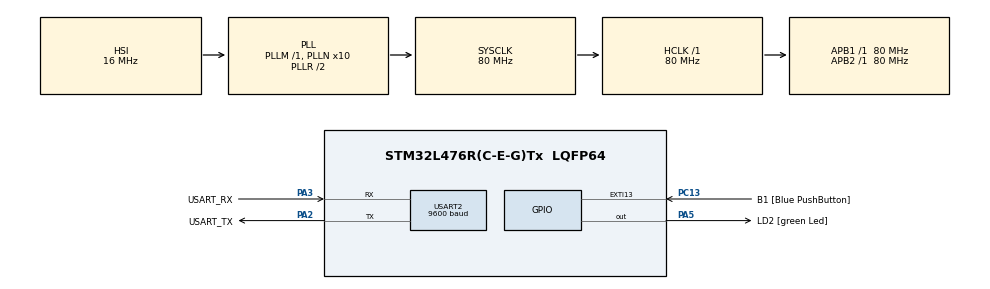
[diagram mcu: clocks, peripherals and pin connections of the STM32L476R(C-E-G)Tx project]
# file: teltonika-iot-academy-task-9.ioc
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FREERTOS.BinarySemaphores01=UARTTxSemaphore,Dynamic,NULL
FREERTOS.Events01=ButEvents,Dynamic,NULL
FREERTOS.Queues01=RxQueue,12,uint8_t,0,Dynamic,NULL,NULL;CommandQueue,1,13,1,Dynamic,NULL,NULL;b_rateQueue,1,uint16_t,0,Dynamic,NULL,NULL
FREERTOS.Tasks01=UARTRx,24,128,StartUARTRx,Default,NULL,Dynamic,NULL,NULL;TaskHandler,32,128,StartTTaskHandler,Default,NULL,Dynamic,NULL,NULL;ButTask,16,128,StartButTask,Default,NULL,Dynamic,NULL,NULL;LedBlinkTask,16,128,StartLedBlinkTask,Default,NULL,Dynamic,NULL,NULL
Mcu.Family=STM32L4
Mcu.Name=STM32L476R(C-E-G)Tx
Mcu.Package=LQFP64
NVIC.EXTI15_10_IRQn=true\:5\:0\:false\:true\:true\:2\:true\:true\:true
NVIC.PriorityGroup=NVIC_PRIORITYGROUP_4
NVIC.TIM6_DAC_IRQn=true\:15\:0\:false\:false\:true\:false\:false\:true
NVIC.TimeBase=TIM6_DAC_IRQn
NVIC.TimeBaseIP=TIM6
NVIC.USART2_IRQn=true\:5\:0\:false\:true\:true\:1\:true\:true\:true
PA13\ (JTMS-SWDIO).GPIO_Label=TMS
PA13\ (JTMS-SWDIO).Mode=Serial_Wire
PA13\ (JTMS-SWDIO).Signal=SYS_JTMS-SWDIO
PA14\ (JTCK-SWCLK).GPIO_Label=TCK
PA14\ (JTCK-SWCLK).Mode=Serial_Wire
PA14\ (JTCK-SWCLK).Signal=SYS_JTCK-SWCLK
PA2.GPIO_Label=USART_TX
PA2.GPIO_Mode=GPIO_MODE_AF_PP
PA2.GPIO_PuPd=GPIO_NOPULL
PA2.GPIO_Speed=GPIO_SPEED_FREQ_VERY_HIGH
PA2.Mode=Asynchronous
PA2.Signal=USART2_TX
PA3.GPIO_Label=USART_RX
PA3.GPIO_Mode=GPIO_MODE_AF_PP
PA3.GPIO_PuPd=GPIO_NOPULL
PA3.GPIO_Speed=GPIO_SPEED_FREQ_VERY_HIGH
PA3.Mode=Asynchronous
PA3.Signal=USART2_RX
PA5.GPIO_Label=LD2 [green Led]
PA5.GPIO_ModeDefaultOutputPP=GPIO_MODE_OUTPUT_PP
PA5.GPIO_PuPd=GPIO_NOPULL
PA5.GPIO_Speed=GPIO_SPEED_FREQ_LOW
PA5.Signal=GPIO_Output
PB3\ (JTDO-TRACESWO).GPIO_Label=SWO
PB3\ (JTDO-TRACESWO).Signal=SYS_JTDO-SWO
PC13.GPIO_Label=B1 [Blue PushButton]
PC13.GPIO_ModeDefaultEXTI=GPIO_MODE_IT_FALLING
PC13.GPIO_PuPd=GPIO_NOPULL
PC13.Signal=GPXTI13
PC14-OSC32_IN\ (PC14).Mode=LSE-External-Oscillator
PC14-OSC32_IN\ (PC14).Signal=RCC_OSC32_IN
PC15-OSC32_OUT\ (PC15).Mode=LSE-External-Oscillator
PC15-OSC32_OUT\ (PC15).Signal=RCC_OSC32_OUT
PH0-OSC_IN\ (PH0).Signal=RCC_OSC_IN
PH1-OSC_OUT\ (PH1).Signal=RCC_OSC_OUT
ProjectManager.HeapSize=0x200
ProjectManager.StackSize=0x400
ProjectManager.TargetToolchain=STM32CubeIDE
RCC.ADCFreq_Value=64000000
RCC.AHBFreq_Value=80000000
RCC.APB1Freq_Value=80000000
RCC.APB1TimFreq_Value=80000000
RCC.APB2Freq_Value=80000000
RCC.APB2TimFreq_Value=80000000
RCC.CortexFreq_Value=80000000
RCC.HCLKFreq_Value=80000000
RCC.HSE_VALUE=8000000
RCC.HSI_VALUE=16000000
RCC.MSI_VALUE=4000000
RCC.PLLN=10
RCC.PLLSourceVirtual=RCC_PLLSOURCE_HSI
RCC.PREFETCH_ENABLE=1
RCC.SYSCLKFreq_VALUE=80000000
RCC.SYSCLKSource=RCC_SYSCLKSOURCE_PLLCLK
RCC.USBFreq_Value=64000000
RCC.VCOOutputFreq_Value=160000000
USART2.BaudRate=9600
USART2.VirtualMode-Asynchronous=VM_ASYNC
VP_FREERTOS_VS_CMSIS_V2.Mode=CMSIS_V2
VP_SYS_VS_tim6.Mode=TIM6
board=NUCLEO-L476RG

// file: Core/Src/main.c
/* USER CODE BEGIN Header */
/**
  ******************************************************************************
  * @file           : main.c
  * @brief          : Main program body
  ******************************************************************************
  * @attention
  *
  * <h2><center>&copy; Copyright (c) 2021 STMicroelectronics.
  * All rights reserved.</center></h2>
  *
  * This software component is licensed by ST under BSD 3-Clause license,
  * the "License"; You may not use this file except in compliance with the
  * License. You may obtain a copy of the License at:
  *                        opensource.org/licenses/BSD-3-Clause
  *
  ******************************************************************************
  */
/* USER CODE END Header */
#include "main.h"
#include "cmsis_os.h"

/* USER CODE BEGIN Includes */
#include <string.h>
#include <stdbool.h>
#include <stdlib.h>
/* USER CODE END Includes */

UART_HandleTypeDef huart2;

/* Definitions for UARTRx */
osThreadId_t UARTRxHandle;
const osThreadAttr_t UARTRx_attributes = {
  .name = "UARTRx",
  .stack_size = 128 * 4,
  .priority = (osPriority_t) osPriorityNormal,
};
/* Definitions for TaskHandler */
osThreadId_t TaskHandlerHandle;
const osThreadAttr_t TaskHandler_attributes = {
  .name = "TaskHandler",
  .stack_size = 128 * 4,
  .priority = (osPriority_t) osPriorityAboveNormal,
};
/* Definitions for ButTask */
osThreadId_t ButTaskHandle;
const osThreadAttr_t ButTask_attributes = {
  .name = "ButTask",
  .stack_size = 128 * 4,
  .priority = (osPriority_t) osPriorityBelowNormal,
};
/* Definitions for LedBlinkTask */
osThreadId_t LedBlinkTaskHandle;
const osThreadAttr_t LedBlinkTask_attributes = {
  .name = "LedBlinkTask",
  .stack_size = 128 * 4,
  .priority = (osPriority_t) osPriorityBelowNormal,
};
/* Definitions for RxQueue */
osMessageQueueId_t RxQueueHandle;
const osMessageQueueAttr_t RxQueue_attributes = {
  .name = "RxQueue"
};
/* Definitions for CommandQueue */
osMessageQueueId_t CommandQueueHandle;
const osMessageQueueAttr_t CommandQueue_attributes = {
  .name = "CommandQueue"
};
/* Definitions for b_rateQueue */
osMessageQueueId_t b_rateQueueHandle;
const osMessageQueueAttr_t b_rateQueue_attributes = {
  .name = "b_rateQueue"
};
/* Definitions for UARTTxSemaphore */
osSemaphoreId_t UARTTxSemaphoreHandle;
const osSemaphoreAttr_t UARTTxSemaphore_attributes = {
  .name = "UARTTxSemaphore"
};
/* Definitions for ButEvents */
osEventFlagsId_t ButEventsHandle;
const osEventFlagsAttr_t ButEvents_attributes = {
  .name = "ButEvents"
};
/* USER CODE BEGIN PV */

uint8_t rx_char;

/* USER CODE END PV */

void SystemClock_Config(void);
static void MX_GPIO_Init(void);
static void MX_USART2_UART_Init(void);
void StartUARTRx(void *argument);
void StartTTaskHandler(void *argument);
void StartButTask(void *argument);
void StartLedBlinkTask(void *argument);

static void MX_NVIC_Init(void);

int main(void)
{

  /* MCU Configuration--------------------------------------------------------*/

  /* Reset of all peripherals, Initializes the Flash interface and the Systick. */
  HAL_Init();

  /* Configure the system clock */
  SystemClock_Config();

  /* Initialize all configured peripherals */
  MX_GPIO_Init();
  MX_USART2_UART_Init();

  /* Initialize interrupts */
  MX_NVIC_Init();
  /* USER CODE BEGIN 2 */

  HAL_UART_Receive_IT(&huart2, &rx_char, 1);

  /* USER CODE END 2 */

  /* Init scheduler */
  osKernelInitialize();

  /* Create the semaphores(s) */
  /* creation of UARTTxSemaphore */
  UARTTxSemaphoreHandle = osSemaphoreNew(1, 1, &UARTTxSemaphore_attributes);

  /* Create the queue(s) */
  /* creation of RxQueue */
  RxQueueHandle = osMessageQueueNew (12, sizeof(uint8_t), &RxQueue_attributes);

  /* creation of CommandQueue */
  CommandQueueHandle = osMessageQueueNew (1, 13, &CommandQueue_attributes);

  /* creation of b_rateQueue */
  b_rateQueueHandle = osMessageQueueNew (1, sizeof(uint16_t), &b_rateQueue_attributes);

  /* Create the thread(s) */
  /* creation of UARTRx */
  UARTRxHandle = osThreadNew(StartUARTRx, NULL, &UARTRx_attributes);

  /* creation of TaskHandler */
  TaskHandlerHandle = osThreadNew(StartTTaskHandler, NULL, &TaskHandler_attributes);

  /* creation of ButTask */
  ButTaskHandle = osThreadNew(StartButTask, NULL, &ButTask_attributes);

  /* creation of LedBlinkTask */
  LedBlinkTaskHandle = osThreadNew(StartLedBlinkTask, NULL, &LedBlinkTask_attributes);

  /* Create the event(s) */
  /* creation of ButEvents */
  ButEventsHandle = osEventFlagsNew(&ButEvents_attributes);

  /* Start scheduler */
  osKernelStart();

  /* We should never get here as control is now taken by the scheduler */
  /* Infinite loop */
  while (1)
  {

  }
}

void SystemClock_Config(void)
{
  RCC_OscInitTypeDef RCC_OscInitStruct = {0};
  RCC_ClkInitTypeDef RCC_ClkInitStruct = {0};

  /** Configure the main internal regulator output voltage
  */
  if (HAL_PWREx_ControlVoltageScaling(PWR_REGULATOR_VOLTAGE_SCALE1) != HAL_OK)
  {
    Error_Handler();
  }
  /** Initializes the RCC Oscillators according to the specified parameters
  * in the RCC_OscInitTypeDef structure.
  */
  RCC_OscInitStruct.OscillatorType = RCC_OSCILLATORTYPE_HSI;
  RCC_OscInitStruct.HSIState = RCC_HSI_ON;
  RCC_OscInitStruct.HSICalibrationValue = RCC_HSICALIBRATION_DEFAULT;
  RCC_OscInitStruct.PLL.PLLState = RCC_PLL_ON;
  RCC_OscInitStruct.PLL.PLLSource = RCC_PLLSOURCE_HSI;
  RCC_OscInitStruct.PLL.PLLM = 1;
  RCC_OscInitStruct.PLL.PLLN = 10;
  RCC_OscInitStruct.PLL.PLLP = RCC_PLLP_DIV7;
  RCC_OscInitStruct.PLL.PLLQ = RCC_PLLQ_DIV2;
  RCC_OscInitStruct.PLL.PLLR = RCC_PLLR_DIV2;
  if (HAL_RCC_OscConfig(&RCC_OscInitStruct) != HAL_OK)
  {
    Error_Handler();
  }
  /** Initializes the CPU, AHB and APB buses clocks
  */
  RCC_ClkInitStruct.ClockType = RCC_CLOCKTYPE_HCLK|RCC_CLOCKTYPE_SYSCLK
                              |RCC_CLOCKTYPE_PCLK1|RCC_CLOCKTYPE_PCLK2;
  RCC_ClkInitStruct.SYSCLKSource = RCC_SYSCLKSOURCE_PLLCLK;
  RCC_ClkInitStruct.AHBCLKDivider = RCC_SYSCLK_DIV1;
  RCC_ClkInitStruct.APB1CLKDivider = RCC_HCLK_DIV1;
  RCC_ClkInitStruct.APB2CLKDivider = RCC_HCLK_DIV1;

  if (HAL_RCC_ClockConfig(&RCC_ClkInitStruct, FLASH_LATENCY_4) != HAL_OK)
  {
    Error_Handler();
  }
}

/**
  * @brief NVIC Configuration.
  * @retval None
  */
static void MX_NVIC_Init(void)
{
  /* USART2_IRQn interrupt configuration */
  HAL_NVIC_SetPriority(USART2_IRQn, 5, 0);
  HAL_NVIC_EnableIRQ(USART2_IRQn);
  /* EXTI15_10_IRQn interrupt configuration */
  HAL_NVIC_SetPriority(EXTI15_10_IRQn, 5, 0);
  HAL_NVIC_EnableIRQ(EXTI15_10_IRQn);
}

static void MX_USART2_UART_Init(void)
{

  huart2.Instance = USART2;
  huart2.Init.BaudRate = 9600;
  huart2.Init.WordLength = UART_WORDLENGTH_8B;
  huart2.Init.StopBits = UART_STOPBITS_1;
  huart2.Init.Parity = UART_PARITY_NONE;
  huart2.Init.Mode = UART_MODE_TX_RX;
  huart2.Init.HwFlowCtl = UART_HWCONTROL_NONE;
  huart2.Init.OverSampling = UART_OVERSAMPLING_16;
  huart2.Init.OneBitSampling = UART_ONE_BIT_SAMPLE_DISABLE;
  huart2.AdvancedInit.AdvFeatureInit = UART_ADVFEATURE_NO_INIT;
  if (HAL_UART_Init(&huart2) != HAL_OK)
  {
    Error_Handler();
  }

}

static void MX_GPIO_Init(void)
{
  GPIO_InitTypeDef GPIO_InitStruct = {0};

  /* GPIO Ports Clock Enable */
  __HAL_RCC_GPIOC_CLK_ENABLE();
  __HAL_RCC_GPIOH_CLK_ENABLE();
  __HAL_RCC_GPIOA_CLK_ENABLE();
  __HAL_RCC_GPIOB_CLK_ENABLE();

  /*Configure GPIO pin Output Level */
  HAL_GPIO_WritePin(LD2_GPIO_Port, LD2_Pin, GPIO_PIN_RESET);

  /*Configure GPIO pin : B1_Pin */
  GPIO_InitStruct.Pin = B1_Pin;
  GPIO_InitStruct.Mode = GPIO_MODE_IT_FALLING;
  GPIO_InitStruct.Pull = GPIO_NOPULL;
  HAL_GPIO_Init(B1_GPIO_Port, &GPIO_InitStruct);

  /*Configure GPIO pin : LD2_Pin */
  GPIO_InitStruct.Pin = LD2_Pin;
  GPIO_InitStruct.Mode = GPIO_MODE_OUTPUT_PP;
  GPIO_InitStruct.Pull = GPIO_NOPULL;
  GPIO_InitStruct.Speed = GPIO_SPEED_FREQ_LOW;
  HAL_GPIO_Init(LD2_GPIO_Port, &GPIO_InitStruct);

}

/* USER CODE BEGIN 4 */
/* This callback is called by the HAL_UART_IRQHandler when the given number of bytes are received */
void HAL_UART_RxCpltCallback(UART_HandleTypeDef *huart)
{
  if (huart->Instance == USART2)
  {
    osMessageQueuePut(RxQueueHandle, &rx_char, 1, 0);
	HAL_UART_Receive_IT(&huart2, &rx_char, 1);

  }
}

void HAL_UART_TxCpltCallback(UART_HandleTypeDef *huart)
{
	if (huart->Instance == USART2)
	{
		osSemaphoreRelease(UARTTxSemaphoreHandle);

	}
}

void HAL_GPIO_EXTI_Callback(uint16_t GPIO_Pin)
{
	if(GPIO_Pin == B1_Pin)
	{
		osEventFlagsSet(ButEventsHandle, 0x00000004U);
	}
}

/* USER CODE END 4 */

void StartUARTRx(void *argument)
{
  /* USER CODE BEGIN 5 */
  uint8_t temp_rx[2] = { '\0' };
  char rx_msg[13] = { '\0' };
  size_t str_sp = 0;
  osStatus_t status;
  bool send = false;
  /* Infinite loop */
  for(;;)
  {
    status = osMessageQueueGet(RxQueueHandle, temp_rx, NULL, 500);

    if (status == osOK)
    {
    	str_sp = sizeof(rx_msg) - strlen(rx_msg) - 1;
    	strncat(rx_msg, (char *)temp_rx, str_sp);

    }

    str_sp = sizeof(rx_msg) - strlen(rx_msg) - 1;

    if (str_sp == 0)
    {
    	rx_msg[strlen(rx_msg)-1] = '\r';
    	rx_msg[strlen(rx_msg)-2] = '\n';
    	send = true;

    }

    else if (status == osErrorTimeout && strlen(rx_msg) > 0 && str_sp >= 2)
    {
    	strncat(rx_msg, "\n\r", str_sp);
    	str_sp = sizeof(rx_msg) - strlen(rx_msg) - 1;
    	send = true;

    }

    else if (status == osErrorTimeout && strlen(rx_msg) > 0 && str_sp == 1)
    {
    	strncat(rx_msg, "\r", str_sp);
    	rx_msg[strlen(rx_msg)-2] = '\n';
    	str_sp = sizeof(rx_msg) - strlen(rx_msg) - 1;
    	send = true;

    }

    else if (rx_msg[strlen(rx_msg)-1] == '\n' || rx_msg[strlen(rx_msg)-1] == '\r')
    {
    	rx_msg[strlen(rx_msg)-1] = '\n';
    	strncat(rx_msg, "\r", str_sp);
    	str_sp = sizeof(rx_msg) - strlen(rx_msg) - 1;
    	send = true;

    }

    if (send && strlen(rx_msg) > 8)
    {
    	osMessageQueuePut(CommandQueueHandle, rx_msg, 1, osWaitForever);
    	osSemaphoreAcquire(UARTTxSemaphoreHandle, osWaitForever);
    	HAL_UART_Transmit_IT(&huart2, (uint8_t *)"Received command:\n\r", 19);

    	str_sp = strlen(rx_msg);
    	osSemaphoreAcquire(UARTTxSemaphoreHandle, osWaitForever);
    	HAL_UART_Transmit_IT(&huart2, (uint8_t *)rx_msg, str_sp);
    	rx_msg[0] = '\0';
    	send = false;

    }

    else if (send)
    {
    	osSemaphoreAcquire(UARTTxSemaphoreHandle, osWaitForever);
    	HAL_UART_Transmit_IT(&huart2, (uint8_t *)"Received command too short:\n\r", 29);
    	str_sp = strlen(rx_msg);
    	osSemaphoreAcquire(UARTTxSemaphoreHandle, osWaitForever);
    	HAL_UART_Transmit_IT(&huart2, (uint8_t *)rx_msg, str_sp);
    	rx_msg[0] = '\0';
    	send = false;
    }

  }
  /* USER CODE END 5 */
}

void StartTTaskHandler(void *argument)
{
  /* USER CODE BEGIN StartTTaskHandler */
  osThreadSuspend(LedBlinkTaskHandle);

  char command[13] = { '\0' };
  bool led_b_sus = true;
  int temp_num;
  /* Infinite loop */
  for(;;)
  {
    osMessageQueueGet(CommandQueueHandle, command, NULL, osWaitForever);

    if (!strncmp(command, "LED", 3) || !strncmp(command, "led", 3))
    {

    	if ((command[4] == 'b' || command[4] == 'B') && atoi(command+6) > 0)
    	{
    		if (led_b_sus)
    		{
    			osThreadResume(LedBlinkTaskHandle);
    			temp_num = atoi(command+6);
    			osMessageQueuePut(b_rateQueueHandle, &temp_num, 1, osWaitForever);
    			led_b_sus = !led_b_sus;
    			osSemaphoreAcquire(UARTTxSemaphoreHandle, osWaitForever);
    			HAL_UART_Transmit_IT(&huart2, (uint8_t *)"LED blinking task started\n\r", 27);
    			if (osEventFlagsGet(ButEventsHandle) & 0x00000002U)
    			{
    				osEventFlagsClear(ButEventsHandle, 0x00000002U);
    				osSemaphoreAcquire(UARTTxSemaphoreHandle, osWaitForever);
    				HAL_UART_Transmit_IT(&huart2, (uint8_t *)"LED control with button turned off\n\r", 36);

    			}

    		}

    		else
    		{
    			temp_num = atoi(command+6);
    			osMessageQueuePut(b_rateQueueHandle, &temp_num, 1, osWaitForever);
    			osSemaphoreAcquire(UARTTxSemaphoreHandle, osWaitForever);
    			HAL_UART_Transmit_IT(&huart2, (uint8_t *)"LED blinking rate updated\n\r", 27);

    		}
    	}

    	else if (command[4] == 'b' || command[4] == 'B')
    	{
    		if (!led_b_sus)
			{

				osThreadSuspend(LedBlinkTaskHandle);
				led_b_sus = !led_b_sus;
				osSemaphoreAcquire(UARTTxSemaphoreHandle, osWaitForever);
				HAL_UART_Transmit_IT(&huart2, (uint8_t *)"LED blinking task stopped\n\r", 27);

			}

			else
			{
				osSemaphoreAcquire(UARTTxSemaphoreHandle, osWaitForever);
				HAL_UART_Transmit_IT(&huart2, (uint8_t *)"LED blinking task already stopped\n\r", 35);

			}

    	}

    	else if (command[4] == 'u' || command[4] == 'U')
    	{
    		if (!led_b_sus)
			{
				osThreadSuspend(LedBlinkTaskHandle);
				led_b_sus = !led_b_sus;
				osSemaphoreAcquire(UARTTxSemaphoreHandle, osWaitForever);
				HAL_UART_Transmit_IT(&huart2, (uint8_t *)"LED blinking task stopped\n\r", 27);

			}

    		if (command[6] == '1')
    		{
    			osSemaphoreAcquire(UARTTxSemaphoreHandle, osWaitForever);
    			HAL_UART_Transmit_IT(&huart2, (uint8_t *)"LED turned on\n\r", 15);
    			HAL_GPIO_WritePin(LD2_GPIO_Port, LD2_Pin, GPIO_PIN_SET);

    		}

    		else
    		{
    			osSemaphoreAcquire(UARTTxSemaphoreHandle, osWaitForever);
				HAL_UART_Transmit_IT(&huart2, (uint8_t *)"LED turned off\n\r", 16);
				HAL_GPIO_WritePin(LD2_GPIO_Port, LD2_Pin, GPIO_PIN_RESET);

    		}
    	}

    	else
    	{
    		osSemaphoreAcquire(UARTTxSemaphoreHandle, osWaitForever);
    		HAL_UART_Transmit_IT(&huart2, (uint8_t *)"Invalid command\n\r", 17);
    	}

    }

    else if (!strncmp(command, "BUT", 3) || !strncmp(command, "but", 3))
    {
    	if (command[4] == 'r' || command[4] == 'R')
    	{
    		if (command[6] == '1')
    		{
    			osEventFlagsSet(ButEventsHandle, 0x00000001U);
    			osSemaphoreAcquire(UARTTxSemaphoreHandle, osWaitForever);
    			HAL_UART_Transmit_IT(&huart2, (uint8_t *)"Button press notifications turned on\n\r", 38);

    		}

    		else
    		{
    			osEventFlagsClear(ButEventsHandle, 0x00000001U);
    			osSemaphoreAcquire(UARTTxSemaphoreHandle, osWaitForever);
    			HAL_UART_Transmit_IT(&huart2, (uint8_t *)"Button press notifications turned off\n\r", 39);

    		}
    	}

    		else if (command[4] == 'l' || command[4] == 'L')
    		{
    			if (command[6] == '1')
				{
					osEventFlagsSet(ButEventsHandle, 0x00000002U);
					osSemaphoreAcquire(UARTTxSemaphoreHandle, osWaitForever);
					HAL_UART_Transmit_IT(&huart2, (uint8_t *)"LED control with button turned on\n\r", 35);

					if (!led_b_sus)
					{
						osThreadSuspend(LedBlinkTaskHandle);
						led_b_sus = !led_b_sus;
						osSemaphoreAcquire(UARTTxSemaphoreHandle, osWaitForever);
						HAL_UART_Transmit_IT(&huart2, (uint8_t *)"LED blinking task stopped\n\r", 27);

					}

				}

				else
				{
					osEventFlagsClear(ButEventsHandle, 0x00000002U);
					osSemaphoreAcquire(UARTTxSemaphoreHandle, osWaitForever);
					HAL_UART_Transmit_IT(&huart2, (uint8_t *)"LED control with button turned off\n\r", 36);

				}
    		}

    }

    else
    {
    	osSemaphoreAcquire(UARTTxSemaphoreHandle, osWaitForever);
    	HAL_UART_Transmit_IT(&huart2, (uint8_t *)"Invalid command\n\r", 17);

    }

  }
  /* USER CODE END StartTTaskHandler */
}

void StartButTask(void *argument)
{
  /* USER CODE BEGIN StartButTask */
  /* Infinite loop */
  for(;;)
  {
	switch (osEventFlagsWait(ButEventsHandle, 0x00000004U, osFlagsWaitAny, osWaitForever))
	{
		case 0x00000005U:
			osSemaphoreAcquire(UARTTxSemaphoreHandle, osWaitForever);
			HAL_UART_Transmit_IT(&huart2, (uint8_t *)"Button pressed!\n\r", 17);
			break;

		case 0x00000006U:
			HAL_GPIO_TogglePin(LD2_GPIO_Port, LD2_Pin);
			break;

		case 0x00000007U:
			HAL_GPIO_TogglePin(LD2_GPIO_Port, LD2_Pin);
			osSemaphoreAcquire(UARTTxSemaphoreHandle, osWaitForever);
			HAL_UART_Transmit_IT(&huart2, (uint8_t *)"Button pressed!\n\r", 17);

		default:
			break;

	}
  }
  /* USER CODE END StartButTask */
}

void StartLedBlinkTask(void *argument)
{
  /* USER CODE BEGIN StartLedBlinkTask */
  int rate = 0;
  /* Infinite loop */
  for(;;)
  {
    osMessageQueueGet(b_rateQueueHandle, &rate, NULL, 0);
    HAL_GPIO_TogglePin(LD2_GPIO_Port, LD2_Pin);
    osDelay(rate);
  }
  /* USER CODE END StartLedBlinkTask */
}

void HAL_TIM_PeriodElapsedCallback(TIM_HandleTypeDef *htim)
{
  if (htim->Instance == TIM6) {
    HAL_IncTick();
  }
}

void Error_Handler(void)
{
  __disable_irq();
  while (1)
  {
  }
}

/************************ (C) COPYRIGHT STMicroelectronics *****END OF FILE****/
